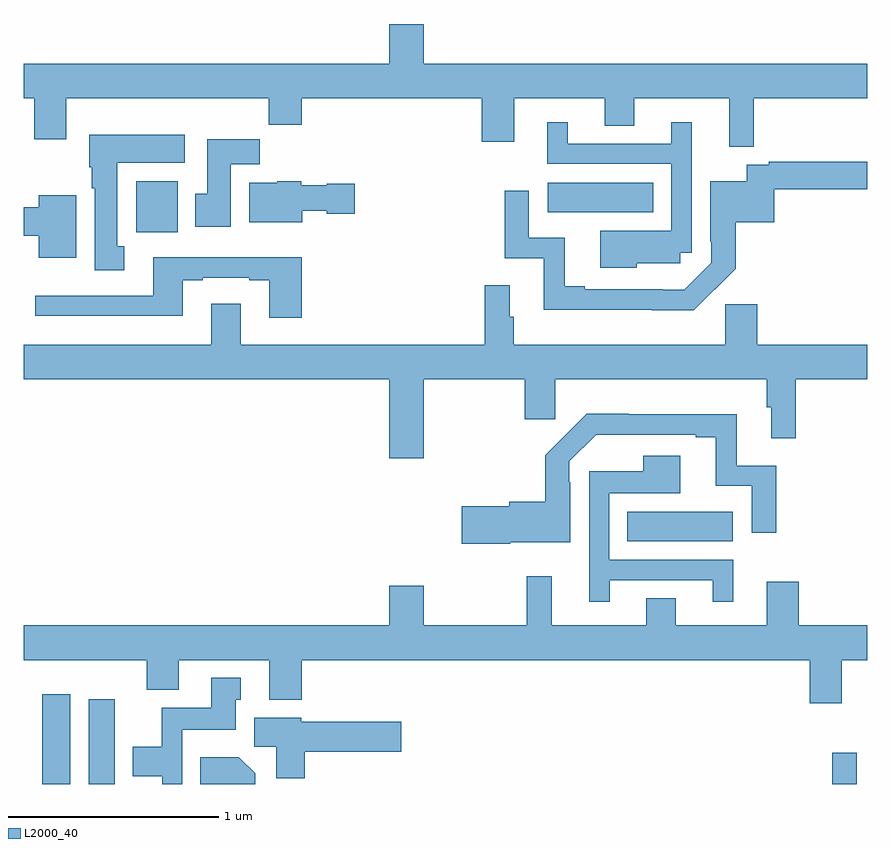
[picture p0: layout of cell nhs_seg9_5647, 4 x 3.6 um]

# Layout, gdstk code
import gdstk
lib = gdstk.Library(unit=1e-6, precision=1e-09)
def R(c, l, rs):  # rectangles x0, y0, x1, y1
    for r in rs: c.add(gdstk.rectangle(r[:2], r[2:], *l))
def P(c, l, *ps):  # polygons
    for p in ps: c.add(gdstk.Polygon(p, *l))
L2000_40 = (2000, 40)

nhs_seg9_5647 = lib.new_cell('nhs_seg9_5647')
R(nhs_seg9_5647, L2000_40, [(439.088,1194.5,439.219,1194.925), (439.307,1194.5,439.432,1194.901), (442.834,1194.5,442.95,1194.649), (441.862,1195.652,442.363,1195.792), (439.532,1197.116,439.729,1197.358), (441.486,1197.212,441.986,1197.352)])
P(nhs_seg9_5647, L2000_40, [(440.896,1198.105),(440.732,1198.105),(440.732,1197.916),(439,1197.916),(439,1197.752),(439.049,1197.752),(439.049,1197.558),(439.201,1197.558),(439.201,1197.752),(440.161,1197.752),(440.161,1197.628),(440.318,1197.628),(440.318,1197.752),(441.173,1197.752),(441.173,1197.546),(441.325,1197.546),(441.325,1197.752),(441.755,1197.752),(441.755,1197.622),(441.895,1197.622),(441.895,1197.752),(442.346,1197.752),(442.346,1197.523),(442.463,1197.523),(442.463,1197.752),(443,1197.752),(443,1197.916),(440.896,1197.916)],
  [(441.906,1196.969),(442.113,1196.969),(442.113,1197.021),(442.167,1197.021),(442.167,1197.64),(442.07,1197.64),(442.07,1197.537),(441.58,1197.537),(441.58,1197.64),(441.482,1197.64),(441.482,1197.441),(442.071,1197.441),(442.071,1197.124),(441.734,1197.124),(441.734,1196.948),(441.906,1196.948)],
  [(439.477,1197.05),(439.444,1197.05),(439.444,1197.446),(439.762,1197.446),(439.762,1197.58),(439.31,1197.58),(439.31,1197.426),(439.322,1197.426),(439.322,1197.326),(439.337,1197.326),(439.337,1196.937),(439.477,1196.937)],
  [(439.981,1197.44),(440.12,1197.44),(440.12,1197.559),(439.871,1197.559),(439.871,1197.3),(439.814,1197.3),(439.814,1197.144),(439.981,1197.144)],
  [(442.376,1196.945),(442.376,1197.164),(442.559,1197.164),(442.559,1197.322),(443,1197.322),(443,1197.451),(442.534,1197.451),(442.534,1197.438),(442.43,1197.438),(442.43,1197.358),(442.257,1197.358),(442.257,1197.073),(442.26,1197.073),(442.26,1196.973),(442.132,1196.845),(442.031,1196.845),(442.031,1196.847),(441.661,1196.847),(441.661,1196.86),(441.565,1196.86),(441.565,1197.09),(441.396,1197.09),(441.396,1197.313),(441.28,1197.313),(441.28,1196.994),(441.467,1196.994),(441.467,1196.75),(441.979,1196.75),(441.979,1196.748),(442.178,1196.748)],
  [(440.32,1197.218),(440.436,1197.218),(440.436,1197.206),(440.569,1197.206),(440.569,1197.348),(440.436,1197.348),(440.436,1197.34),(440.316,1197.34),(440.316,1197.358),(440.202,1197.358),(440.202,1197.352),(440.069,1197.352),(440.069,1197.164),(440.32,1197.164)],
  [(439.249,1197.292),(439.07,1197.292),(439.07,1197.236),(439,1197.236),(439,1197.1),(439.07,1197.1),(439.07,1196.996),(439.249,1196.996)],
  [(440.318,1196.998),(439.613,1196.998),(439.613,1196.817),(439.053,1196.817),(439.053,1196.72),(439.753,1196.72),(439.753,1196.889),(439.849,1196.889),(439.849,1196.901),(440.069,1196.901),(440.069,1196.889),(440.165,1196.889),(440.165,1196.712),(440.318,1196.712)],
  [(440.896,1196.42),(441.376,1196.42),(441.376,1196.229),(441.521,1196.229),(441.521,1196.42),(442.525,1196.42),(442.525,1196.288),(442.544,1196.288),(442.544,1196.139),(442.661,1196.139),(442.661,1196.42),(443,1196.42),(443,1196.584),(442.478,1196.584),(442.478,1196.775),(442.327,1196.775),(442.327,1196.584),(441.323,1196.584),(441.323,1196.717),(441.304,1196.717),(441.304,1196.866),(441.187,1196.866),(441.187,1196.584),(440.029,1196.584),(440.029,1196.779),(439.889,1196.779),(439.889,1196.584),(439,1196.584),(439,1196.42),(440.732,1196.42),(440.732,1196.046),(440.896,1196.046)],
  [(441.306,1195.646),(441.591,1195.646),(441.591,1195.931),(441.588,1195.931),(441.588,1196.031),(441.714,1196.157),(442.187,1196.157),(442.187,1196.145),(442.283,1196.145),(442.283,1195.914),(442.452,1195.914),(442.452,1195.692),(442.568,1195.692),(442.568,1196.01),(442.381,1196.01),(442.381,1196.254),(441.869,1196.254),(441.869,1196.257),(441.67,1196.257),(441.473,1196.059),(441.473,1195.84),(441.302,1195.84),(441.302,1195.817),(441.078,1195.817),(441.078,1195.639),(441.306,1195.639)],
  [(441.778,1195.467),(442.268,1195.467),(442.268,1195.365),(442.366,1195.365),(442.366,1195.563),(441.777,1195.563),(441.777,1195.88),(442.114,1195.88),(442.114,1196.056),(441.938,1196.056),(441.938,1195.984),(441.681,1195.984),(441.681,1195.365),(441.778,1195.365)],
  [(442.879,1195.088),(443,1195.088),(443,1195.252),(442.676,1195.252),(442.676,1195.459),(442.523,1195.459),(442.523,1195.252),(442.093,1195.252),(442.093,1195.382),(441.953,1195.382),(441.953,1195.252),(441.503,1195.252),(441.503,1195.486),(441.385,1195.486),(441.385,1195.252),(440.896,1195.252),(440.896,1195.441),(440.732,1195.441),(440.732,1195.252),(439,1195.252),(439,1195.088),(439.583,1195.088),(439.583,1194.947),(439.735,1194.947),(439.735,1195.088),(440.165,1195.088),(440.165,1194.899),(440.318,1194.899),(440.318,1195.088),(442.727,1195.088),(442.727,1194.882),(442.879,1194.882)],
  [(439.752,1194.758),(440.005,1194.758),(440.005,1194.9),(440.029,1194.9),(440.029,1195.003),(439.889,1195.003),(439.889,1194.862),(439.654,1194.862),(439.654,1194.676),(439.517,1194.676),(439.517,1194.536),(439.656,1194.536),(439.656,1194.5),(439.752,1194.5)],
  [(440.333,1194.653),(440.791,1194.653),(440.791,1194.795),(440.316,1194.795),(440.316,1194.814),(440.093,1194.814),(440.093,1194.676),(440.198,1194.676),(440.198,1194.528),(440.333,1194.528)],
  [(440.098,1194.55),(440.02,1194.628),(439.837,1194.628),(439.837,1194.5),(440.098,1194.5)])

lib.write_gds('nhs_seg9_5647.gds')
